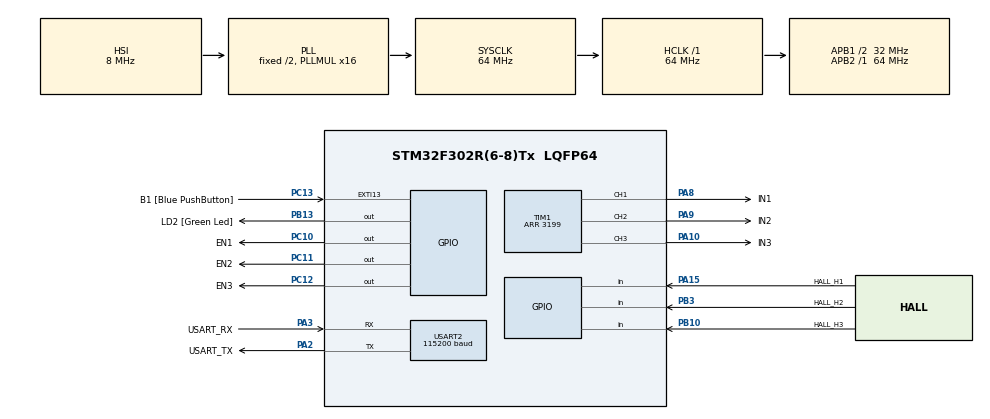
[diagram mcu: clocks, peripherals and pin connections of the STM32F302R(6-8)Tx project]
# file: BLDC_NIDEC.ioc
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Mcu.Family=STM32F3
Mcu.Name=STM32F302R(6-8)Tx
Mcu.Package=LQFP64
NVIC.PriorityGroup=NVIC_PRIORITYGROUP_0
PA10.GPIO_Label=IN3
PA10.Signal=S_TIM1_CH3
PA13.GPIO_Label=TMS
PA13.Mode=Serial_Wire
PA13.Signal=SYS_JTMS-SWDIO
PA14.GPIO_Label=TCK
PA14.Mode=Serial_Wire
PA14.Signal=SYS_JTCK-SWCLK
PA15.GPIO_Label=HALL_H1
PA15.Signal=GPIO_Input
PA2.GPIO_Label=USART_TX
PA2.GPIO_Mode=GPIO_MODE_AF_PP
PA2.GPIO_PuPd=GPIO_NOPULL
PA2.GPIO_Speed=GPIO_SPEED_FREQ_LOW
PA2.Mode=Asynchronous
PA2.Signal=USART2_TX
PA3.GPIO_Label=USART_RX
PA3.GPIO_Mode=GPIO_MODE_AF_PP
PA3.GPIO_PuPd=GPIO_NOPULL
PA3.GPIO_Speed=GPIO_SPEED_FREQ_LOW
PA3.Mode=Asynchronous
PA3.Signal=USART2_RX
PA8.GPIO_Label=IN1
PA8.Signal=S_TIM1_CH1
PA9.GPIO_Label=IN2
PA9.Signal=S_TIM1_CH2
PB10.GPIO_Label=HALL_H3
PB10.Signal=GPIO_Input
PB13.GPIO_Label=LD2 [Green Led]
PB13.Signal=GPIO_Output
PB3.GPIO_Label=HALL_H2
PB3.Signal=GPIO_Input
PC10.GPIO_Label=EN1
PC10.Signal=GPIO_Output
PC11.GPIO_Label=EN2
PC11.Signal=GPIO_Output
PC12.GPIO_Label=EN3
PC12.Signal=GPIO_Output
PC13.GPIO_Label=B1 [Blue PushButton]
PC13.GPIO_ModeDefaultEXTI=GPIO_MODE_IT_FALLING
PC13.Signal=GPXTI13
PC14\ -\ OSC32_IN.Mode=LSE-External-Oscillator
PC14\ -\ OSC32_IN.Signal=RCC_OSC32_IN
PC15\ -\ OSC32_OUT.Mode=LSE-External-Oscillator
PC15\ -\ OSC32_OUT.Signal=RCC_OSC32_OUT
PF0-OSC_IN.Mode=HSE-External-Clock-Source
PF0-OSC_IN.Signal=RCC_OSC_IN
PF1-OSC_OUT.Signal=RCC_OSC_OUT
ProjectManager.HeapSize=0x200
ProjectManager.StackSize=0x400
ProjectManager.TargetToolchain=STM32CubeIDE
RCC.AHBFreq_Value=64000000
RCC.APB1CLKDivider=RCC_HCLK_DIV2
RCC.APB1Freq_Value=32000000
RCC.APB1TimFreq_Value=64000000
RCC.APB2Freq_Value=64000000
RCC.APB2TimFreq_Value=64000000
RCC.CortexFreq_Value=64000000
RCC.HCLKFreq_Value=64000000
RCC.HSE_VALUE=8000000
RCC.HSI_VALUE=8000000
RCC.PLLM=8
RCC.PLLMUL=RCC_PLL_MUL16
RCC.PLLN=336
RCC.PLLP=RCC_PLLP_DIV4
RCC.PLLQ=7
RCC.RCC_PLLsource_Clock_Source_FROM_HSE=RCC_HSE_PREDIV_DIV2
RCC.SYSCLKFreq_VALUE=64000000
RCC.SYSCLKSourceVirtual=RCC_SYSCLKSOURCE_PLLCLK
RCC.USBFreq_Value=64000000
SH.S_TIM1_CH1.0=TIM1_CH1,PWM Generation1 CH1
SH.S_TIM1_CH2.0=TIM1_CH2,PWM Generation2 CH2
SH.S_TIM1_CH3.0=TIM1_CH3,PWM Generation3 CH3
TIM1.Channel-PWM\ Generation1\ CH1=TIM_CHANNEL_1
TIM1.Channel-PWM\ Generation2\ CH2=TIM_CHANNEL_2
TIM1.Channel-PWM\ Generation3\ CH3=TIM_CHANNEL_3
TIM1.Period=3199
TIM1.Pulse-PWM\ Generation2\ CH2=0
TIM1.Pulse-PWM\ Generation3\ CH3=0
USART2.BaudRate=115200
USART2.VirtualMode-Asynchronous=VM_ASYNC
VP_TIM1_VS_ClockSourceINT.Mode=Internal
board=NUCLEO-F302R8

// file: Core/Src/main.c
/* USER CODE BEGIN Header */
/**
  ******************************************************************************
  * @file           : main.c
  * @brief          : Main program body
  ******************************************************************************
  * @attention
  *
  * <h2><center>&copy; Copyright (c) 2021 STMicroelectronics.
  * All rights reserved.</center></h2>
  *
  * This software component is licensed by ST under BSD 3-Clause license,
  * the "License"; You may not use this file except in compliance with the
  * License. You may obtain a copy of the License at:
  *                        opensource.org/licenses/BSD-3-Clause
  *
  ******************************************************************************
  */
/* USER CODE END Header */
#include "main.h"

/* USER CODE BEGIN Includes */
#include <stdio.h>

/* USER CODE END Includes */

/* USER CODE BEGIN PD */
#define MAIN_TX_BUFFER_SIZE (80U)
/* USER CODE END PD */

TIM_HandleTypeDef htim1;

UART_HandleTypeDef huart2;

void SystemClock_Config(void);
static void MX_GPIO_Init(void);
static void MX_USART2_UART_Init(void);
static void MX_TIM1_Init(void);

/* USER CODE BEGIN 0 */

#define TIM_CHANNEL_IN1 TIM_CHANNEL_1
#define TIM_CHANNEL_IN2 TIM_CHANNEL_2
#define TIM_CHANNEL_IN3 TIM_CHANNEL_3

#define FIXED_PWM_PULSE       (500U)//(159U)
#define FIXED_PWM_RUNTIME_ms  (1000U)

//                  | Forward                | Backward
//# H1 H2 H3 | CODE | OUT1 U  OUT2 V  OUT3 W | OUT1 U  OUT2 V  OUT3 W
//------------------------------------------------------------
//1 H  L  L  |   4  | VS      High Z  PWM    | PWM     High Z  VS
//2 H  H  L  |   6  | High Z  VS      PWM    | High Z  PWM     VS
//3 L  H  L  |   2  | PWM     VS      High Z | VS      PWM     High Z
//4 L  H  H  |   3  | PWM     High Z  VS     | VS      High Z  PWM
//5 L  L  H  |   1  | High Z  PWM     VS     | High Z  VS      PWM
//6 H  L  H  |   5  | VS      PWM     High Z | PWM     VS      High Z

typedef void (*MAIN_StepFunc_t)(void);

static void MAIN_StepX_F(void){
  // all disabled
  HAL_GPIO_WritePin(EN1_GPIO_Port, EN1_Pin, RESET);
  HAL_GPIO_WritePin(EN2_GPIO_Port, EN2_Pin, RESET);
  HAL_GPIO_WritePin(EN3_GPIO_Port, EN3_Pin, RESET);
  __HAL_TIM_SET_COMPARE(&htim1, TIM_CHANNEL_IN1, 0);
  __HAL_TIM_SET_COMPARE(&htim1, TIM_CHANNEL_IN2, 0);
  __HAL_TIM_SET_COMPARE(&htim1, TIM_CHANNEL_IN3, 0);
}

void MAIN_Step1_F(void){
  //# H1 H2 H3 | OUT1 U  OUT2 V  OUT3 W
  //1 H  L  L  | VS      High Z  PWM
  HAL_GPIO_WritePin(EN2_GPIO_Port, EN2_Pin, RESET);
  HAL_GPIO_WritePin(EN1_GPIO_Port, EN1_Pin, SET);
  HAL_GPIO_WritePin(EN3_GPIO_Port, EN3_Pin, SET);
  __HAL_TIM_SET_COMPARE(&htim1, TIM_CHANNEL_IN1, 0);
  __HAL_TIM_SET_COMPARE(&htim1, TIM_CHANNEL_IN2, 0);
  __HAL_TIM_SET_COMPARE(&htim1, TIM_CHANNEL_IN3, FIXED_PWM_PULSE);
}

static void MAIN_Step2_F(void){
  //# H1 H2 H3 | OUT1 U  OUT2 V  OUT3 W
  //2 H  H  L  | High Z  VS      PWM
  HAL_GPIO_WritePin(EN1_GPIO_Port, EN1_Pin, RESET);
  HAL_GPIO_WritePin(EN2_GPIO_Port, EN2_Pin, SET);
  HAL_GPIO_WritePin(EN3_GPIO_Port, EN3_Pin, SET);
  __HAL_TIM_SET_COMPARE(&htim1, TIM_CHANNEL_IN1, 0);
  __HAL_TIM_SET_COMPARE(&htim1, TIM_CHANNEL_IN2, 0);
  __HAL_TIM_SET_COMPARE(&htim1, TIM_CHANNEL_IN3, FIXED_PWM_PULSE);
}

static void MAIN_Step3_F(void){
  //# H1 H2 H3 | OUT1 U  OUT2 V  OUT3 W
  //3 L  H  L  | PWM     VS      High Z
  HAL_GPIO_WritePin(EN3_GPIO_Port, EN3_Pin, RESET);
  HAL_GPIO_WritePin(EN1_GPIO_Port, EN1_Pin, SET);
  HAL_GPIO_WritePin(EN2_GPIO_Port, EN2_Pin, SET);
  __HAL_TIM_SET_COMPARE(&htim1, TIM_CHANNEL_IN1, FIXED_PWM_PULSE);
  __HAL_TIM_SET_COMPARE(&htim1, TIM_CHANNEL_IN2, 0);
  __HAL_TIM_SET_COMPARE(&htim1, TIM_CHANNEL_IN3, 0);
}

static void MAIN_Step4_F(void){
  //# H1 H2 H3 | OUT1 U  OUT2 V  OUT3 W
  //4 L  H  H  | PWM     High Z  VS
  HAL_GPIO_WritePin(EN2_GPIO_Port, EN2_Pin, RESET);
  HAL_GPIO_WritePin(EN1_GPIO_Port, EN1_Pin, SET);
  HAL_GPIO_WritePin(EN3_GPIO_Port, EN3_Pin, SET);
  __HAL_TIM_SET_COMPARE(&htim1, TIM_CHANNEL_IN1, FIXED_PWM_PULSE);
  __HAL_TIM_SET_COMPARE(&htim1, TIM_CHANNEL_IN2, 0);
  __HAL_TIM_SET_COMPARE(&htim1, TIM_CHANNEL_IN3, 0);
}

static void MAIN_Step5_F(void){
  //# H1 H2 H3 | OUT1 U  OUT2 V  OUT3 W
  //5 L  L  H  | High Z  PWM     VS
  HAL_GPIO_WritePin(EN1_GPIO_Port, EN1_Pin, RESET);
  HAL_GPIO_WritePin(EN2_GPIO_Port, EN2_Pin, SET);
  HAL_GPIO_WritePin(EN3_GPIO_Port, EN3_Pin, SET);
  __HAL_TIM_SET_COMPARE(&htim1, TIM_CHANNEL_IN1, 0);
  __HAL_TIM_SET_COMPARE(&htim1, TIM_CHANNEL_IN2, FIXED_PWM_PULSE);
  __HAL_TIM_SET_COMPARE(&htim1, TIM_CHANNEL_IN3, 0);
}

static void MAIN_Step6_F(void){
  //# H1 H2 H3 | OUT1 U  OUT2 V  OUT3 W
  //6 H  L  H  | VS      PWM     High Z
  HAL_GPIO_WritePin(EN3_GPIO_Port, EN3_Pin, RESET);
  HAL_GPIO_WritePin(EN1_GPIO_Port, EN1_Pin, SET);
  HAL_GPIO_WritePin(EN2_GPIO_Port, EN2_Pin, SET);
  __HAL_TIM_SET_COMPARE(&htim1, TIM_CHANNEL_IN1, 0);
  __HAL_TIM_SET_COMPARE(&htim1, TIM_CHANNEL_IN2, FIXED_PWM_PULSE);
  __HAL_TIM_SET_COMPARE(&htim1, TIM_CHANNEL_IN3, 0);
}

static MAIN_StepFunc_t MAIN_step_func[8] = {
    MAIN_StepX_F,
    MAIN_Step5_F,
    MAIN_Step3_F,
    MAIN_Step4_F,
    MAIN_Step1_F,
    MAIN_Step6_F,
    MAIN_Step2_F,
    MAIN_StepX_F
};

static uint8_t MAIN_GetHALLCode(void){
  uint8_t code = (HAL_GPIO_ReadPin(HALL_H1_GPIO_Port, HALL_H1_Pin) << 2)
               | (HAL_GPIO_ReadPin(HALL_H2_GPIO_Port, HALL_H2_Pin) << 1)
               |  HAL_GPIO_ReadPin(HALL_H3_GPIO_Port, HALL_H3_Pin);
  return code;
}

static void MAIN_TEST_HALLOnUART(void){
  uint8_t tx_buffer[MAIN_TX_BUFFER_SIZE];
  int len = snprintf((char *)&tx_buffer[0], MAIN_TX_BUFFER_SIZE, "Hello world!\r\n");
  HAL_UART_Transmit(&huart2, &tx_buffer[0], len, 1000);
  while(1){
    int hall_h1 = HAL_GPIO_ReadPin(HALL_H1_GPIO_Port, HALL_H1_Pin);
    int hall_h2 = HAL_GPIO_ReadPin(HALL_H2_GPIO_Port, HALL_H2_Pin);
    int hall_h3 = HAL_GPIO_ReadPin(HALL_H3_GPIO_Port, HALL_H3_Pin);
    uint8_t code = MAIN_GetHALLCode();
    int len = snprintf((char *)&tx_buffer[0], MAIN_TX_BUFFER_SIZE, "\rH1:%d H2:%d H3:%d CODE:%d", hall_h1, hall_h2, hall_h3, code );
    HAL_UART_Transmit(&huart2, &tx_buffer[0], len, 1000);
    HAL_Delay(10);
  }
}

static void MAIN_TEST_HALLAndSteps(void){
  while(1){
    uint8_t code = MAIN_GetHALLCode();
    MAIN_step_func[code]();
  }
}

static void MAIN_TEST_PWM(void){
  MAIN_StepX_F();
  HAL_TIM_PWM_Start(&htim1, TIM_CHANNEL_1);
  HAL_TIM_PWM_Start(&htim1, TIM_CHANNEL_2);
  HAL_TIM_PWM_Start(&htim1, TIM_CHANNEL_3);
  while(1){
    __HAL_TIM_SET_COMPARE(&htim1, TIM_CHANNEL_1, 0);
    HAL_Delay(1);
    __HAL_TIM_SET_COMPARE(&htim1, TIM_CHANNEL_1, 159);
    HAL_Delay(1);
  }
}

static void MAIN_TEST_StepsFixedPWM(void){
  MAIN_StepX_F();
  HAL_TIM_PWM_Start(&htim1, TIM_CHANNEL_1);
  HAL_TIM_PWM_Start(&htim1, TIM_CHANNEL_2);
  HAL_TIM_PWM_Start(&htim1, TIM_CHANNEL_3);
  uint32_t stop_time = HAL_GetTick() + FIXED_PWM_RUNTIME_ms;
  while(HAL_GetTick() < stop_time){
    uint8_t code = MAIN_GetHALLCode();
    MAIN_step_func[code]();
  }
  MAIN_StepX_F();
  while(1);
}

/* USER CODE END 0 */

int main(void)
{

  /* MCU Configuration--------------------------------------------------------*/

  /* Reset of all peripherals, Initializes the Flash interface and the Systick. */
  HAL_Init();

  /* Configure the system clock */
  SystemClock_Config();

  /* Initialize all configured peripherals */
  MX_GPIO_Init();
  MX_USART2_UART_Init();
  MX_TIM1_Init();
  /* USER CODE BEGIN 2 */

  //MAIN_TEST_HALLOnUART();
//  MAIN_TEST_HALLAndSteps();
//  MAIN_TEST_PWM();
  MAIN_TEST_StepsFixedPWM();

  /* USER CODE END 2 */

  /* Infinite loop */
  while (1)
  {

  }
}

void SystemClock_Config(void)
{
  RCC_OscInitTypeDef RCC_OscInitStruct = {0};
  RCC_ClkInitTypeDef RCC_ClkInitStruct = {0};
  RCC_PeriphCLKInitTypeDef PeriphClkInit = {0};

  /** Initializes the RCC Oscillators according to the specified parameters
  * in the RCC_OscInitTypeDef structure.
  */
  RCC_OscInitStruct.OscillatorType = RCC_OSCILLATORTYPE_HSI;
  RCC_OscInitStruct.HSIState = RCC_HSI_ON;
  RCC_OscInitStruct.HSICalibrationValue = RCC_HSICALIBRATION_DEFAULT;
  RCC_OscInitStruct.PLL.PLLState = RCC_PLL_ON;
  RCC_OscInitStruct.PLL.PLLSource = RCC_PLLSOURCE_HSI;
  RCC_OscInitStruct.PLL.PLLMUL = RCC_PLL_MUL16;
  if (HAL_RCC_OscConfig(&RCC_OscInitStruct) != HAL_OK)
  {
    Error_Handler();
  }
  /** Initializes the CPU, AHB and APB buses clocks
  */
  RCC_ClkInitStruct.ClockType = RCC_CLOCKTYPE_HCLK|RCC_CLOCKTYPE_SYSCLK
                              |RCC_CLOCKTYPE_PCLK1|RCC_CLOCKTYPE_PCLK2;
  RCC_ClkInitStruct.SYSCLKSource = RCC_SYSCLKSOURCE_PLLCLK;
  RCC_ClkInitStruct.AHBCLKDivider = RCC_SYSCLK_DIV1;
  RCC_ClkInitStruct.APB1CLKDivider = RCC_HCLK_DIV2;
  RCC_ClkInitStruct.APB2CLKDivider = RCC_HCLK_DIV1;

  if (HAL_RCC_ClockConfig(&RCC_ClkInitStruct, FLASH_LATENCY_2) != HAL_OK)
  {
    Error_Handler();
  }
  PeriphClkInit.PeriphClockSelection = RCC_PERIPHCLK_TIM1;
  PeriphClkInit.Tim1ClockSelection = RCC_TIM1CLK_HCLK;
  if (HAL_RCCEx_PeriphCLKConfig(&PeriphClkInit) != HAL_OK)
  {
    Error_Handler();
  }
}

static void MX_TIM1_Init(void)
{

  TIM_ClockConfigTypeDef sClockSourceConfig = {0};
  TIM_MasterConfigTypeDef sMasterConfig = {0};
  TIM_OC_InitTypeDef sConfigOC = {0};
  TIM_BreakDeadTimeConfigTypeDef sBreakDeadTimeConfig = {0};

  htim1.Instance = TIM1;
  htim1.Init.Prescaler = 0;
  htim1.Init.CounterMode = TIM_COUNTERMODE_UP;
  htim1.Init.Period = 3199;
  htim1.Init.ClockDivision = TIM_CLOCKDIVISION_DIV1;
  htim1.Init.RepetitionCounter = 0;
  htim1.Init.AutoReloadPreload = TIM_AUTORELOAD_PRELOAD_DISABLE;
  if (HAL_TIM_Base_Init(&htim1) != HAL_OK)
  {
    Error_Handler();
  }
  sClockSourceConfig.ClockSource = TIM_CLOCKSOURCE_INTERNAL;
  if (HAL_TIM_ConfigClockSource(&htim1, &sClockSourceConfig) != HAL_OK)
  {
    Error_Handler();
  }
  if (HAL_TIM_PWM_Init(&htim1) != HAL_OK)
  {
    Error_Handler();
  }
  sMasterConfig.MasterOutputTrigger = TIM_TRGO_RESET;
  sMasterConfig.MasterOutputTrigger2 = TIM_TRGO2_RESET;
  sMasterConfig.MasterSlaveMode = TIM_MASTERSLAVEMODE_DISABLE;
  if (HAL_TIMEx_MasterConfigSynchronization(&htim1, &sMasterConfig) != HAL_OK)
  {
    Error_Handler();
  }
  sConfigOC.OCMode = TIM_OCMODE_PWM1;
  sConfigOC.Pulse = 0;
  sConfigOC.OCPolarity = TIM_OCPOLARITY_HIGH;
  sConfigOC.OCNPolarity = TIM_OCNPOLARITY_HIGH;
  sConfigOC.OCFastMode = TIM_OCFAST_DISABLE;
  sConfigOC.OCIdleState = TIM_OCIDLESTATE_RESET;
  sConfigOC.OCNIdleState = TIM_OCNIDLESTATE_RESET;
  if (HAL_TIM_PWM_ConfigChannel(&htim1, &sConfigOC, TIM_CHANNEL_1) != HAL_OK)
  {
    Error_Handler();
  }
  if (HAL_TIM_PWM_ConfigChannel(&htim1, &sConfigOC, TIM_CHANNEL_2) != HAL_OK)
  {
    Error_Handler();
  }
  if (HAL_TIM_PWM_ConfigChannel(&htim1, &sConfigOC, TIM_CHANNEL_3) != HAL_OK)
  {
    Error_Handler();
  }
  sBreakDeadTimeConfig.OffStateRunMode = TIM_OSSR_DISABLE;
  sBreakDeadTimeConfig.OffStateIDLEMode = TIM_OSSI_DISABLE;
  sBreakDeadTimeConfig.LockLevel = TIM_LOCKLEVEL_OFF;
  sBreakDeadTimeConfig.DeadTime = 0;
  sBreakDeadTimeConfig.BreakState = TIM_BREAK_DISABLE;
  sBreakDeadTimeConfig.BreakPolarity = TIM_BREAKPOLARITY_HIGH;
  sBreakDeadTimeConfig.BreakFilter = 0;
  sBreakDeadTimeConfig.Break2State = TIM_BREAK2_DISABLE;
  sBreakDeadTimeConfig.Break2Polarity = TIM_BREAK2POLARITY_HIGH;
  sBreakDeadTimeConfig.Break2Filter = 0;
  sBreakDeadTimeConfig.AutomaticOutput = TIM_AUTOMATICOUTPUT_DISABLE;
  if (HAL_TIMEx_ConfigBreakDeadTime(&htim1, &sBreakDeadTimeConfig) != HAL_OK)
  {
    Error_Handler();
  }
  HAL_TIM_MspPostInit(&htim1);

}

static void MX_USART2_UART_Init(void)
{

  huart2.Instance = USART2;
  huart2.Init.BaudRate = 115200;
  huart2.Init.WordLength = UART_WORDLENGTH_8B;
  huart2.Init.StopBits = UART_STOPBITS_1;
  huart2.Init.Parity = UART_PARITY_NONE;
  huart2.Init.Mode = UART_MODE_TX_RX;
  huart2.Init.HwFlowCtl = UART_HWCONTROL_NONE;
  huart2.Init.OverSampling = UART_OVERSAMPLING_16;
  huart2.Init.OneBitSampling = UART_ONE_BIT_SAMPLE_DISABLE;
  huart2.AdvancedInit.AdvFeatureInit = UART_ADVFEATURE_NO_INIT;
  if (HAL_UART_Init(&huart2) != HAL_OK)
  {
    Error_Handler();
  }

}

static void MX_GPIO_Init(void)
{
  GPIO_InitTypeDef GPIO_InitStruct = {0};

  /* GPIO Ports Clock Enable */
  __HAL_RCC_GPIOC_CLK_ENABLE();
  __HAL_RCC_GPIOF_CLK_ENABLE();
  __HAL_RCC_GPIOA_CLK_ENABLE();
  __HAL_RCC_GPIOB_CLK_ENABLE();

  /*Configure GPIO pin Output Level */
  HAL_GPIO_WritePin(LD2_GPIO_Port, LD2_Pin, GPIO_PIN_RESET);

  /*Configure GPIO pin Output Level */
  HAL_GPIO_WritePin(GPIOC, EN1_Pin|EN2_Pin|EN3_Pin, GPIO_PIN_RESET);

  /*Configure GPIO pin : B1_Pin */
  GPIO_InitStruct.Pin = B1_Pin;
  GPIO_InitStruct.Mode = GPIO_MODE_IT_FALLING;
  GPIO_InitStruct.Pull = GPIO_NOPULL;
  HAL_GPIO_Init(B1_GPIO_Port, &GPIO_InitStruct);

  /*Configure GPIO pins : HALL_H3_Pin HALL_H2_Pin */
  GPIO_InitStruct.Pin = HALL_H3_Pin|HALL_H2_Pin;
  GPIO_InitStruct.Mode = GPIO_MODE_INPUT;
  GPIO_InitStruct.Pull = GPIO_NOPULL;
  HAL_GPIO_Init(GPIOB, &GPIO_InitStruct);

  /*Configure GPIO pin : LD2_Pin */
  GPIO_InitStruct.Pin = LD2_Pin;
  GPIO_InitStruct.Mode = GPIO_MODE_OUTPUT_PP;
  GPIO_InitStruct.Pull = GPIO_NOPULL;
  GPIO_InitStruct.Speed = GPIO_SPEED_FREQ_LOW;
  HAL_GPIO_Init(LD2_GPIO_Port, &GPIO_InitStruct);

  /*Configure GPIO pin : HALL_H1_Pin */
  GPIO_InitStruct.Pin = HALL_H1_Pin;
  GPIO_InitStruct.Mode = GPIO_MODE_INPUT;
  GPIO_InitStruct.Pull = GPIO_NOPULL;
  HAL_GPIO_Init(HALL_H1_GPIO_Port, &GPIO_InitStruct);

  /*Configure GPIO pins : EN1_Pin EN2_Pin EN3_Pin */
  GPIO_InitStruct.Pin = EN1_Pin|EN2_Pin|EN3_Pin;
  GPIO_InitStruct.Mode = GPIO_MODE_OUTPUT_PP;
  GPIO_InitStruct.Pull = GPIO_NOPULL;
  GPIO_InitStruct.Speed = GPIO_SPEED_FREQ_LOW;
  HAL_GPIO_Init(GPIOC, &GPIO_InitStruct);

}

void Error_Handler(void)
{
  __disable_irq();
  while (1)
  {
  }
}

/************************ (C) COPYRIGHT STMicroelectronics *****END OF FILE****/
